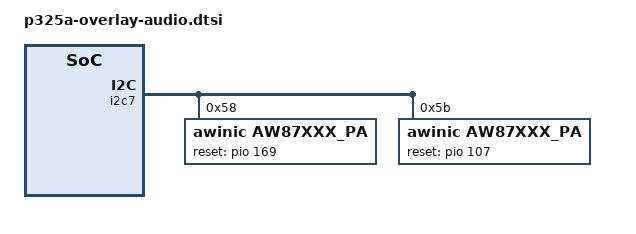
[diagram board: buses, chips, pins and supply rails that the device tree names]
/*[TN.NJDC] audio overlay file.start*/
&i2c7 {
	/* AWINIC AW87XXX Smart K PA */
	aw87xxx_pa@58 {
		compatible = "awinic,aw87xxx_pa";
		reg = <0x58>;
		reset-gpio = <&pio 169 0>;
		dev_index = < 0 >;
		esd-enable = "false";
		status = "okay";
	};

	aw87xxx_pa@5B {
		compatible = "awinic,aw87xxx_pa";
		reg = <0x5B>;
		reset-gpio = <&pio 107 0>;
		dev_index = < 1 >;
		esd-enable = "false";
		status = "okay";
	};
    /* AWINIC AW87XXX Smart K PA End */
};

&accdet {
	/* accdet micbias voltage: 0x07,2.7v;0x05,2.5v;0x02,1.9v */
	accdet-mic-vol = <6>;
};
/*[TN.NJDC] audio overlay file.end*/
